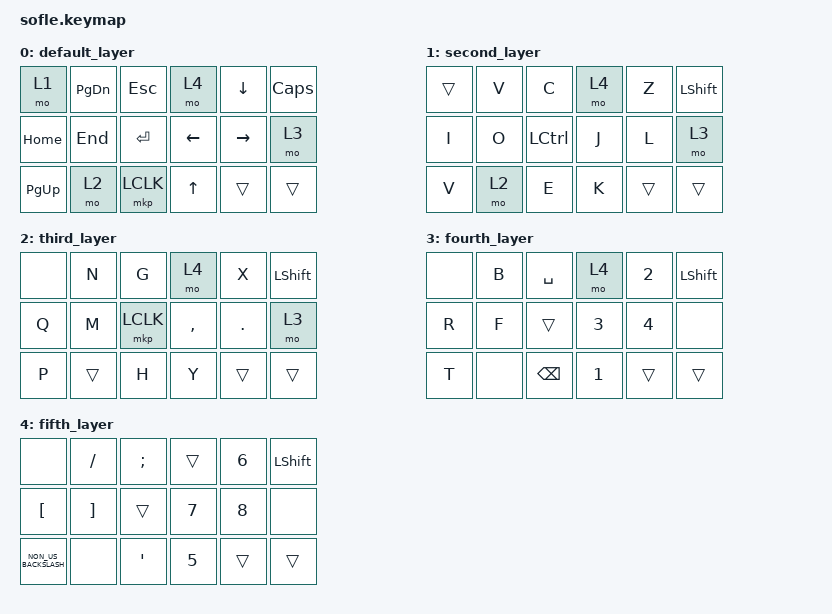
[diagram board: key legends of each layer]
/*
 * Copyright (c) 2020 The ZMK Contributors
 *
 * SPDX-License-Identifier: MIT
 */

#include <behaviors.dtsi>
#include <dt-bindings/zmk/keys.h>
#include <dt-bindings/zmk/bt.h>

/ {
    keymap {
        compatible = "zmk,keymap";

        default_layer {

            bindings = <
    &mo 1      &kp PAGE_DOWN  &kp ESC    &mo 4         &kp DOWN   &kp CAPS  
    &kp HOME   &kp END        &kp ENTER  &kp LEFT      &kp RIGHT  &mo 3         
    &kp PG_UP  &mo 2          &mkp LCLK  &kp UP_ARROW  &trans     &trans         
            >;
            //MOUSE WHEEL
            joystick_listener {
                compatible = "zmk,input-listener";
                device = <&anin1>;
            };
        };

        second_layer {
            bindings = <
        &trans  &kp V  &kp C      &mo 4  &kp Z   &kp LEFT_SHIFT       
        &kp I   &kp O  &kp LCTRL  &kp J  &kp L   &mo 3               
        &kp V   &mo 2  &kp E      &kp K  &trans  &trans              
            >;
            //MOUSE MOVE
            joystick_listener {
                compatible = "zmk,input-listener";
                device = <&anin0>;
            };
        };

        third_layer {
            bindings = <
        &none  &kp N   &kp G      &mo 4      &kp X       &kp LSHIFT      
        &kp Q  &kp M   &mkp LCLK  &kp COMMA  &kp PERIOD  &mo 3            
        &kp P  &trans  &kp H      &kp Y      &trans      &trans          
            >;
        };

        fourth_layer {
            bindings = <
        &none  &kp B  &kp SPACE      &mo 4         &kp NUMBER_2  &kp LEFT_SHIFT    
        &kp R  &kp F  &trans         &kp NUMBER_3  &kp NUMBER_4  &none              
        &kp T  &none  &kp BACKSPACE  &kp NUMBER_1  &trans        &trans             
            >;
        };

        fifth_layer {
            bindings = <
        &none                 &kp SLASH          &kp SEMICOLON  &trans  &kp NUMBER_6  &kp LEFT_SHIFT    
        &kp LEFT_BRACKET      &kp RIGHT_BRACKET  &trans         &kp N7  &kp N8        &none             
        &kp NON_US_BACKSLASH  &none              &kp SQT        &kp N5  &trans        &trans            
            >;
        };

    };
};
